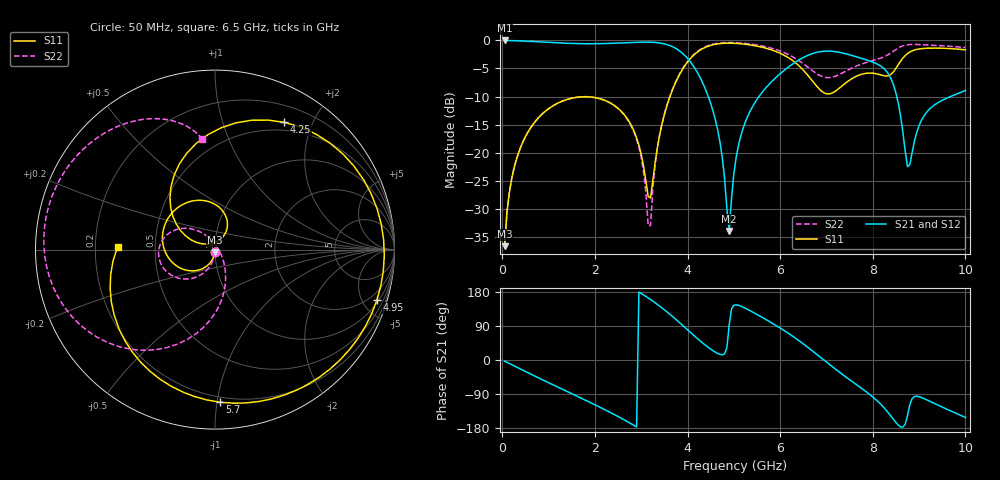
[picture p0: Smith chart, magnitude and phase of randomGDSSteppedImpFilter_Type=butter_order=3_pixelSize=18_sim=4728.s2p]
! freq	dB(S11)	phase(S11)	dB(S12)	phase(S12)
!  dB(S21)	phase(S21)	dB(S22)	phase(S22)
!S-par simulation data
#  GHz  S  DB  R 50
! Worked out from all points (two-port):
!   200 points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, 50 MHz to 10 GHz, reference 50 ohm
!   highest |S21| = -0.01 dB at 50 MHz (marker M1); lowest = -34.0 dB at 4.9 GHz (marker M2)
!   |S21| within 3 dB of the highest: start of sweep to 3.978 GHz; 6.509 GHz to 7.683 GHz (1.175 GHz wide, 16.6 % of centre)
!   lowest |S11| = -36.7 dB at 50 MHz (marker M3), VSWR 1.03, Z = 49.9 - j1.46 ohm
!   |S11| at or under -10 dB: start of sweep to 3.621 GHz
!   |S22| runs from -36.7 to -0.4 dB; largest |S21 - S12| = 0
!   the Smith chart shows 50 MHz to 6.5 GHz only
!   S11 on the Smith chart (normalised r, x): 50 MHz: 1.00, -0.03; 4.25 GHz: 0.40, +1.61; 4.95 GHz: 1.22, -6.37; 5.7 GHz: 0.17, -1.02; 6.5 GHz: 0.30, +0.01
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0.05  -36.67 -93.3  -0.01 -3.1  -0.01 -3.1  -36.65 -92.1
0.5  -17.16 -126.6  -0.13 -30.4  -0.13 -30.4  -17.14 -115.0
1.75  -10.04 144.2  -0.58 -103.4  -0.58 -103.4  -10.02 -172.1
2.8  -15.39 66.3  -0.36 -169.5  -0.36 -169.5  -15.54 137.2
3.15  -27.82 86.7  -0.30 163.8  -0.30 163.8  -33.01 73.3
3.4  -16.75 157.7  -0.46 142.1  -0.46 142.1  -16.77 -66.0
3.85  -5.75 112.7  -2.01 96.2  -2.01 96.2  -5.64 -107.1
4.25  -1.86 61.4  -6.28 52.7  -6.28 52.7  -1.75 -143.2
4.65  -0.62 14.0  -15.94 17.4  -15.94 17.4  -0.51 -174.3
4.9  -0.49 -12.2  -33.97 93.1  -33.97 93.1  -0.37 169.7
4.95  -0.49 -17.2  -28.14 135.1  -28.14 135.1  -0.37 166.8
5.05  -0.53 -27.0  -20.84 145.5  -20.84 145.5  -0.40 161.1
5.7  -1.40 -88.1  -8.37 106.4  -8.37 106.4  -1.15 128.6
6.5  -5.30 178.4  -3.04 42.5  -3.04 42.5  -4.16 96.6
6.7  -7.25 143.2  -2.34 23.7  -2.34 23.7  -5.42 94.0
7.4  -7.68 -16.3  -2.35 -43.1  -2.35 -43.1  -5.55 102.8
7.95  -5.82 -104.2  -3.71 -92.6  -3.71 -92.6  -3.70 90.9
8.35  -6.26 149.8  -6.13 -141.5  -6.13 -141.5  -2.45 81.4
8.55  -4.33 68.1  -11.17 -171.7  -11.17 -171.7  -1.35 73.2
8.8  -2.07 -5.5  -22.15 -117.7  -22.15 -117.7  -0.73 58.0
9.25  -1.37 -68.7  -12.04 -110.0  -12.04 -110.0  -0.85 35.4
10  -1.67 -122.2  -8.93 -151.6  -8.93 -151.6  -1.27 2.3
